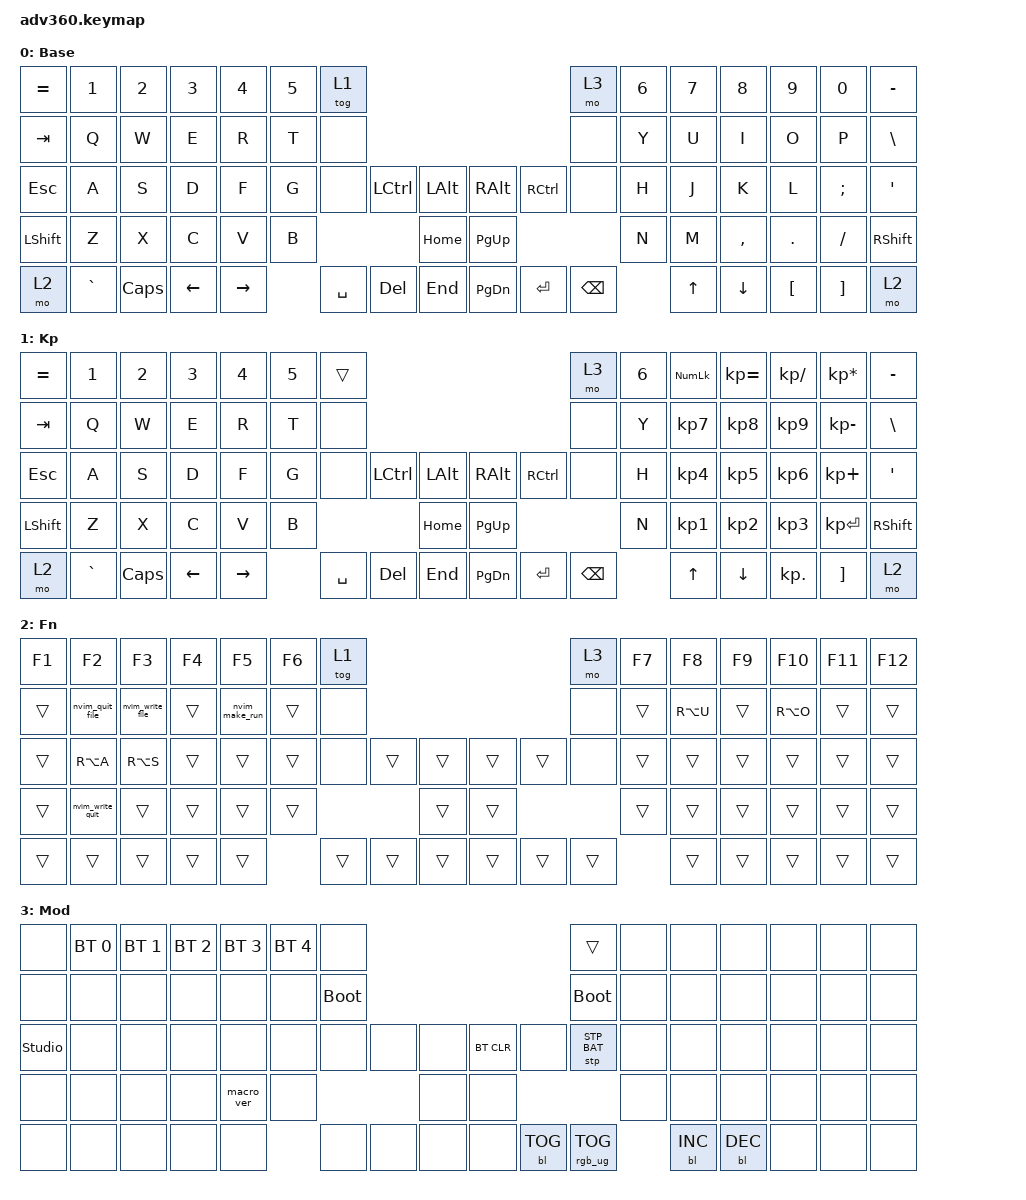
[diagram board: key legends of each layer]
#include <dt-bindings/zmk/stp.h>
#include <behaviors.dtsi>
#include <dt-bindings/zmk/backlight.h>
#include <dt-bindings/zmk/bt.h>
#include <dt-bindings/zmk/keys.h>
#include <dt-bindings/zmk/rgb.h>

/ {
    behaviors {
        #include "macros.dtsi"
      #include "version.dtsi"

        hm: homerow_mods {
            compatible = "zmk,behavior-hold-tap";
            label = "HOMEROW_MODS";
            #binding-cells = <2>;
            tapping-term-ms = <200>;
            quick_tap_ms = <175>;
            flavor = "tap-preferred";
            bindings = <&kp>, <&kp>;
        };
    };

    macros {
        nvim_write_file: nvim_write_file {
            compatible = "zmk,behavior-macro";
            #binding-cells = <0>;
            bindings = <&kp ESC &kp COLON &kp W &kp RET>;
            label = "NVIM_WRITE_FILE";
        };

        nvim_quit_file: nvim_quit_file {
            compatible = "zmk,behavior-macro";
            #binding-cells = <0>;
            bindings = <&kp ESC &kp LS(Z) &kp LS(Q)>;
            label = "NVIM_QUIT_FILE";
        };

        nvim_write_quit: nvim_write_quit {
            compatible = "zmk,behavior-macro";
            #binding-cells = <0>;
            bindings = <&kp ESC &kp LS(Z) &kp LS(Z)>;
            label = "NVIM_WRITE_QUIT";
        };

        nvim_make_run: nvim_make_run {
            compatible = "zmk,behavior-macro";
            #binding-cells = <0>;
            bindings = <&kp ESC &kp COLON &kp M &kp A &kp K &kp E &kp SPACE &kp R &kp U &kp N &kp RET>;
            label = "NVIM_MAKE_RUN";
        };
    };

    keymap {
        compatible = "zmk,keymap";

        default_layer {
            display-name = "Base";
            bindings = <
&kp EQUAL  &kp N1     &kp N2    &kp N3    &kp N4     &kp N5  &tog 1                                                    &mo 3          &kp N6  &kp N7  &kp N8     &kp N9    &kp N0    &kp MINUS
&kp TAB    &kp Q      &kp W     &kp E     &kp R      &kp T   &none                                                     &none          &kp Y   &kp U   &kp I      &kp O     &kp P     &kp BSLH
&kp ESC    &kp A      &kp S     &kp D     &kp F      &kp G   &none      &kp LCTRL  &kp LALT      &kp RALT   &kp RCTRL  &none          &kp H   &kp J   &kp K      &kp L     &kp SEMI  &kp SQT
&kp LSHFT  &kp Z      &kp X     &kp C     &kp V      &kp B                         &kp HOME      &kp PG_UP                            &kp N   &kp M   &kp COMMA  &kp DOT   &kp FSLH  &kp RSHFT
&mo 2      &kp GRAVE  &kp CAPS  &kp LEFT  &kp RIGHT          &kp SPACE  &kp DEL    &kp END       &kp PG_DN  &kp ENTER  &kp BACKSPACE          &kp UP  &kp DOWN   &kp LBKT  &kp RBKT  &mo 2
            >;
        };

        keypad {
            display-name = "Kp";
            bindings = <
&kp EQUAL  &kp N1     &kp N2    &kp N3    &kp N4     &kp N5  &trans                                                    &mo 3          &kp N6  &kp KP_NUM  &kp KP_EQUAL  &kp KP_DIVIDE  &kp KP_MULTIPLY  &kp MINUS
&kp TAB    &kp Q      &kp W     &kp E     &kp R      &kp T   &none                                                     &none          &kp Y   &kp KP_N7   &kp KP_N8     &kp KP_N9      &kp KP_MINUS     &kp BSLH
&kp ESC    &kp A      &kp S     &kp D     &kp F      &kp G   &none      &kp LCTRL  &kp LALT      &kp RALT   &kp RCTRL  &none          &kp H   &kp KP_N4   &kp KP_N5     &kp KP_N6      &kp KP_PLUS      &kp SQT
&kp LSHFT  &kp Z      &kp X     &kp C     &kp V      &kp B                         &kp HOME      &kp PG_UP                            &kp N   &kp KP_N1   &kp KP_N2     &kp KP_N3      &kp KP_ENTER     &kp RSHFT
&mo 2      &kp GRAVE  &kp CAPS  &kp LEFT  &kp RIGHT          &kp SPACE  &kp DEL    &kp END       &kp PG_DN  &kp ENTER  &kp BACKSPACE          &kp UP      &kp DOWN      &kp KP_DOT     &kp RBKT         &mo 2
            >;
        };

        fn {
            display-name = "Fn";
            bindings = <
&kp F1  &kp F2            &kp F3            &kp F4  &kp F5          &kp F6  &tog 1                                      &mo 3   &kp F7  &kp F8     &kp F9  &kp F10    &kp F11  &kp F12
&trans  &nvim_quit_file   &nvim_write_file  &trans  &nvim_make_run  &trans  &none                                       &none   &trans  &kp RA(U)  &trans  &kp RA(O)  &trans   &trans
&trans  &kp RA(A)         &kp RA(S)         &trans  &trans          &trans  &none   &trans  &trans      &trans  &trans  &none   &trans  &trans     &trans  &trans     &trans   &trans
&trans  &nvim_write_quit  &trans            &trans  &trans          &trans                  &trans      &trans                  &trans  &trans     &trans  &trans     &trans   &trans
&trans  &trans            &trans            &trans  &trans                  &trans  &trans  &trans      &trans  &trans  &trans          &trans     &trans  &trans     &trans   &trans
            >;
        };

        mod {
            display-name = "Mod";
            bindings = <
&none           &bt BT_SEL 0  &bt BT_SEL 1  &bt BT_SEL 2  &bt BT_SEL 3  &bt BT_SEL 4  &none                                                  &trans           &none  &none       &none       &none  &none  &none
&none           &none         &none         &none         &none         &none         &bootloader                                            &bootloader      &none  &none       &none       &none  &none  &none
&studio_unlock  &none         &none         &none         &none         &none         &none        &none  &none      &bt BT_CLR  &none       &stp STP_BAT     &none  &none       &none       &none  &none  &none
&none           &none         &none         &none         &macro_ver    &none                             &none      &none                                    &none  &none       &none       &none  &none  &none
&none           &none         &none         &none         &none                       &none        &none  &none      &none       &bl BL_TOG  &rgb_ug RGB_TOG         &bl BL_INC  &bl BL_DEC  &none  &none  &none
            >;
        };

        extra1 {
            display-name = "Red";
            status = "reserved";
        };

        extra2 {
            display-name = "Purple";
            status = "reserved";
        };

        extra3 {
            display-name = "Cyan";
            status = "reserved";
        };

        extra4 {
            display-name = "Yellow";
            status = "reserved";
        };
    };
};
